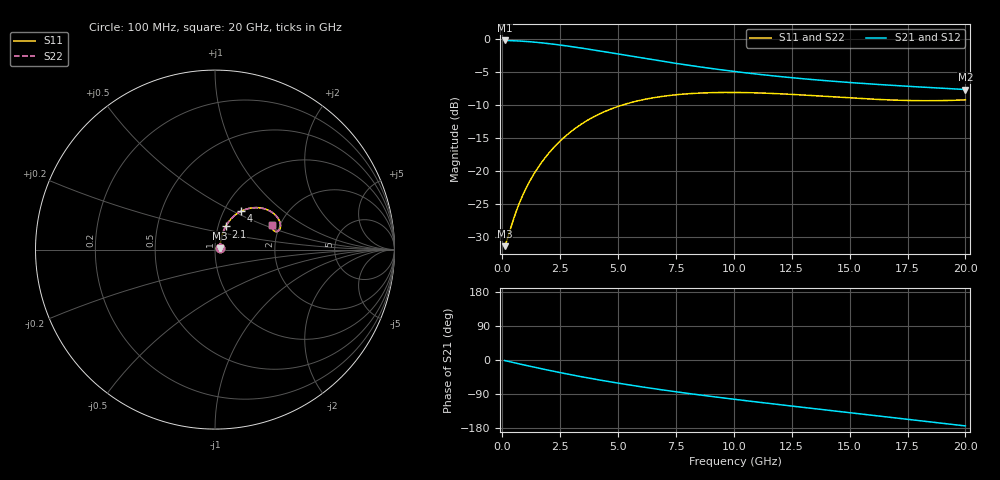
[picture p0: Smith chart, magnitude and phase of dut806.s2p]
! Touchstone file exported from HFSS 2024.1.0
!  File:  C:/UserFiles/LocalFiles/RDL_TSV_Batchsim/temp_RDL_TSV_806_1779911879.aedt
!  Generated:  04:12:55 AM May 28, 2026
!  Design:  RDL_TSV
!  Project:  temp_RDL_TSV_806_1779911879
!  Setup:  Setup1
!  Solution:  Sweep
! Variables:
!  dtsv = 5.48um
!  hbump = 3um
!  htsv = 63.52um
!  ldown = 198.57um
!  lrdl = 474.35um
!  p = 40
!  p1 = 47.36um
!  rhole = 10um
!  subl = 2493.11um
!  t = 450um
!  tdown = 4.75um
!  trdl = 2.09um
!  viad = 10um
!  wdown = 28.33um
!  wrdl = 13.77um
!  xbump = 18um
# GHz S MA R 50.000000
! Terminal data exported
! Port[1] = TM1_1_T1
! Port[2] = TM1_4_T1
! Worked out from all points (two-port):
!   200 points, 100 MHz to 20 GHz, reference 50 ohm
!   highest |S21| = -0.23 dB at 100 MHz (marker M1); lowest = -7.7 dB at 20 GHz (marker M2)
!   |S21| within 3 dB of the highest: start of sweep to 6.642 GHz
!   lowest |S11| = -31.4 dB at 100 MHz (marker M3), VSWR 1.06, Z = 52.7 + j0.722 ohm
!   |S11| at or under -10 dB: start of sweep to 5.205 GHz
!   |S22| runs from -31.4 to -8.1 dB; largest |S21 - S12| = 1.4e-14
!   S11 on the Smith chart (normalised r, x): 100 MHz: 1.05, +0.01; 2.1 GHz: 1.09, +0.29; 4 GHz: 1.20, +0.55; 20 GHz: 1.81, +0.57
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0.1  0.02686 14.8  0.9739 -1.4  0.9739 -1.4  0.02686 14.8
! Gamma 0 0 0 0
! Port Impedance 50 0 50 0
0.2  0.02976 27.2  0.9732 -2.9  0.9732 -2.9  0.02976 27.2
0.6  0.04925 52.2  0.9672 -8.4  0.9672 -8.4  0.04925 52.2
0.8  0.06052 57.5  0.9629 -11.2  0.9629 -11.2  0.06052 57.5
1  0.07226 60.9  0.9578 -13.9  0.9578 -13.9  0.07226 60.9
1.5  0.1032 64.9  0.9419 -20.6  0.9419 -20.6  0.1032 64.9
2.1  0.1421 65.3  0.9176 -28.3  0.9176 -28.3  0.1421 65.3
2.8  0.1879 62.8  0.8844 -36.9  0.8844 -36.9  0.1878 62.8
3.5  0.2313 58.9  0.8483 -45.1  0.8483 -45.1  0.2312 58.9
4  0.2596 55.6  0.8217 -50.6  0.8217 -50.6  0.2596 55.6
4.6  0.29 51.6  0.7899 -57.0  0.7899 -57.0  0.2899 51.6
5.3  0.3199 46.9  0.7537 -64.0  0.7537 -64.0  0.3199 46.9
6  0.3439 42.4  0.7192 -70.7  0.7192 -70.7  0.3438 42.4
6.8  0.3646 37.7  0.6825 -77.9  0.6825 -77.9  0.3644 37.7
8.4  0.3877 29.7  0.6187 -91.2  0.6187 -91.2  0.3875 29.7
10.1  0.3929 23.3  0.5647 -104.3  0.5647 -104.3  0.3926 23.3
11.7  0.386 19.2  0.5249 -115.9  0.5249 -115.9  0.3857 19.2
13.4  0.3722 16.7  0.492 -127.9  0.492 -127.9  0.3718 16.8
15  0.3575 16.3  0.4675 -139.0  0.4675 -139.0  0.3571 16.3
16.7  0.3451 17.6  0.4464 -150.8  0.4464 -150.8  0.3447 17.7
18.4  0.3402 20.4  0.4286 -162.7  0.4286 -162.7  0.3399 20.5
20  0.3451 23.5  0.4137 -174.0  0.4137 -174.0  0.3449 23.7
